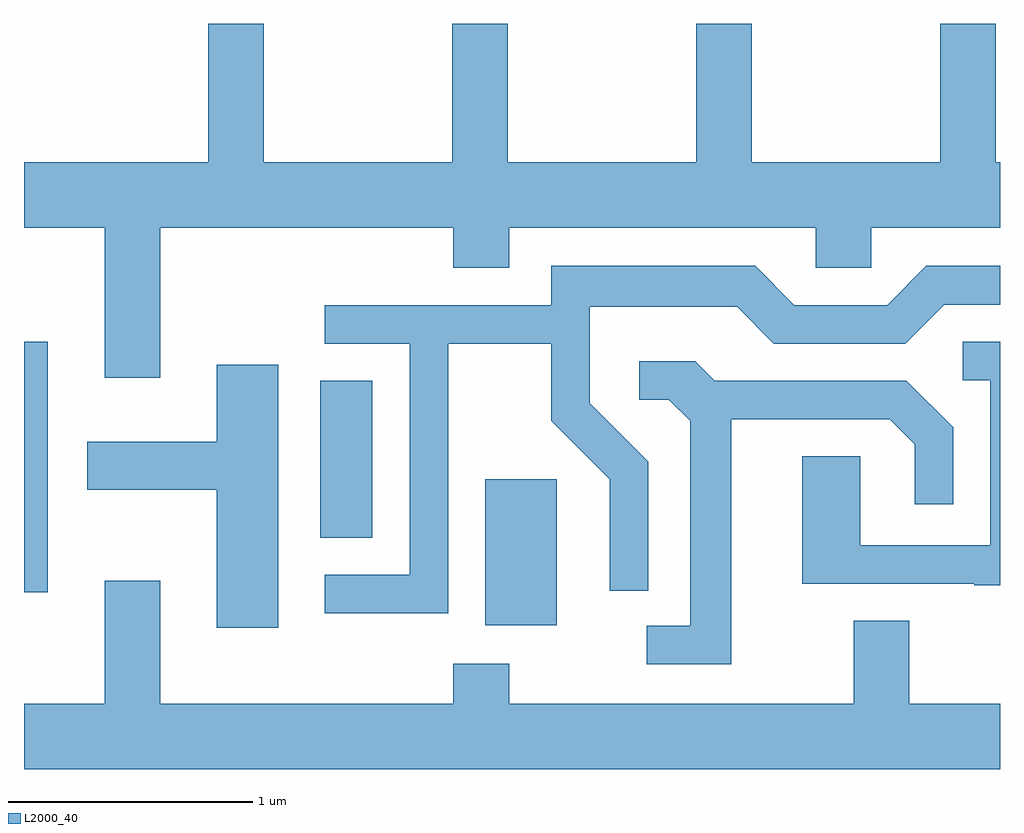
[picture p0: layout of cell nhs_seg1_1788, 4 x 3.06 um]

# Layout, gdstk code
import gdstk
lib = gdstk.Library(unit=1e-6, precision=1e-09)
def R(c, l, rs):  # rectangles x0, y0, x1, y1
    for r in rs: c.add(gdstk.rectangle(r[:2], r[2:], *l))
def P(c, l, *ps):  # polygons
    for p in ps: c.add(gdstk.Polygon(p, *l))
L2000_40 = (2000, 40)

nhs_seg1_1788 = lib.new_cell('nhs_seg1_1788')
R(nhs_seg1_1788, L2000_40, [(241.501,931.246,241.794,931.844), (239.611,931.381,239.709,932.409), (240.826,931.606,241.039,932.249)])
P(nhs_seg1_1788, L2000_40, [(240.169,932.876),(241.371,932.876),(241.371,932.711),(241.599,932.711),(241.599,932.876),(242.856,932.876),(242.856,932.711),(243.084,932.711),(243.084,932.876),(243.611,932.876),(243.611,933.144),(243.594,933.144),(243.594,933.712),(243.366,933.712),(243.366,933.144),(242.594,933.144),(242.594,933.712),(242.366,933.712),(242.366,933.144),(241.594,933.144),(241.594,933.712),(241.366,933.712),(241.366,933.144),(240.594,933.144),(240.594,933.712),(240.366,933.712),(240.366,933.144),(239.611,933.144),(239.611,932.876),(239.941,932.876),(239.941,932.261),(240.169,932.261)],
  [(241.349,932.401),(241.771,932.401),(241.771,932.084),(242.011,931.844),(242.011,931.388),(242.169,931.388),(242.169,931.917),(241.929,932.157),(241.929,932.551),(242.534,932.551),(242.684,932.401),(243.222,932.401),(243.382,932.561),(243.611,932.561),(243.611,932.719),(243.309,932.719),(243.149,932.559),(242.767,932.559),(242.607,932.719),(241.771,932.719),(241.771,932.559),(240.843,932.559),(240.843,932.401),(241.191,932.401),(241.191,931.454),(240.843,931.454),(240.843,931.296),(241.349,931.296)],
  [(243.611,932.409),(243.458,932.409),(243.458,932.251),(243.571,932.251),(243.571,931.574),(243.039,931.574),(243.039,931.939),(242.801,931.939),(242.801,931.416),(243.505,931.416),(243.505,931.411),(243.611,931.411)],
  [(242.509,932.091),(243.159,932.091),(243.261,931.989),(243.261,931.743),(243.419,931.743),(243.419,932.057),(243.227,932.249),(242.442,932.249),(242.362,932.329),(242.133,932.329),(242.133,932.171),(242.254,932.171),(242.341,932.084),(242.341,931.244),(242.163,931.244),(242.163,931.086),(242.509,931.086)],
  [(240.654,932.314),(240.401,932.314),(240.401,931.999),(239.871,931.999),(239.871,931.801),(240.401,931.801),(240.401,931.236),(240.654,931.236)],
  [(243.611,930.924),(243.239,930.924),(243.239,931.264),(243.011,931.264),(243.011,930.924),(241.599,930.924),(241.599,931.089),(241.371,931.089),(241.371,930.924),(240.169,930.924),(240.169,931.429),(239.941,931.429),(239.941,930.924),(239.611,930.924),(239.611,930.656),(243.611,930.656)])

lib.write_gds('nhs_seg1_1788.gds')
